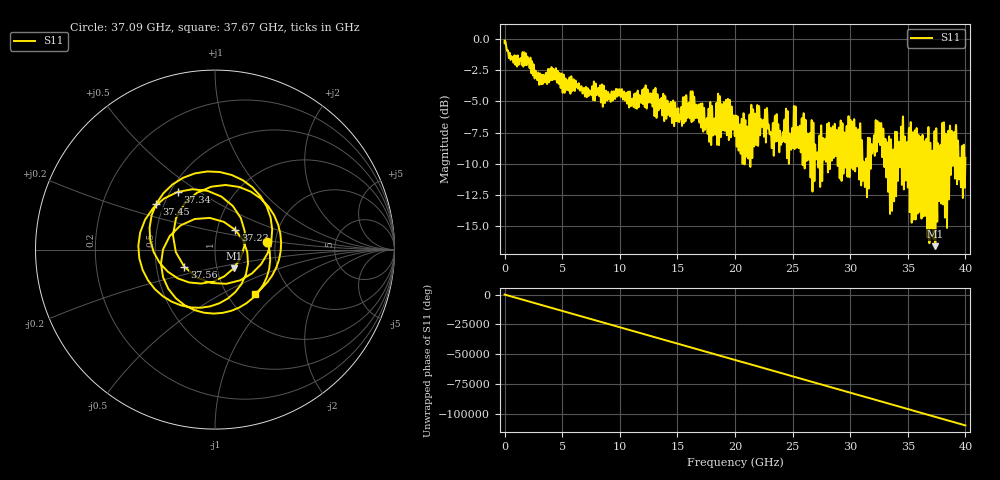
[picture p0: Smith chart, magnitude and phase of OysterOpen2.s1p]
# MHz MA S R 50.0
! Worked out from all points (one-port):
!   8000 points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, 5 MHz to 40 GHz, reference 50 ohm
!   lowest |S11| = -16.6 dB at 37.39 GHz (marker M1), VSWR 1.35, Z = 60.1 - j12.8 ohm
!   |S11| at or under -10 dB: 31.19 GHz to 31.36 GHz (178.1 MHz wide, 0.57 % of centre); 33.58455 GHz to 33.67658 GHz (92.03 MHz wide, 0.274 % of centre); 37.01092 GHz to 37.10686 GHz (95.94 MHz wide, 0.259 % of centre) (the widest 3 of 74)
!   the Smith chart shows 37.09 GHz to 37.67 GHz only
!   S11 on the Smith chart (normalised r, x): 37.09 GHz: 1.82, +0.16; 37.23 GHz: 1.22, +0.28; 37.34 GHz: 0.55, +0.41; 37.45 GHz: 0.45, +0.28; 37.56 GHz: 0.70, -0.14; 37.67 GHz: 1.34, -0.74
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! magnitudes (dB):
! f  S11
! 5 MHz  -0.1
! 2.985 GHz  -3.5
! 5.005 GHz  -3.6
! 10.01 GHz  -4.0
! 15.01 GHz  -6.6
! 16.31 GHz  -4.2
! 17.6 GHz  -7.2
! 19.21 GHz  -4.9
! 20 GHz  -7.5
! 25 GHz  -8.2
! 27.07 GHz  -9.6
! 30 GHz  -6.6
! 30.7 GHz  -7.4
! 31.29 GHz  -11.8
! 32.53 GHz  -6.9
! 33.47 GHz  -13.3
! 34.41 GHz  -7.2
! 35.01 GHz  -11.9
! 37.09 GHz  -10.6
! 37.23 GHz  -16.0
! 37.34 GHz  -8.3
! 37.39 GHz  -16.6
! 37.45 GHz  -7.6
! 37.56 GHz  -14.2
! 37.67 GHz  -9.6
! 39.01 GHz  -7.5
! 39.61 GHz  -11.9
! 40 GHz  -9.5
